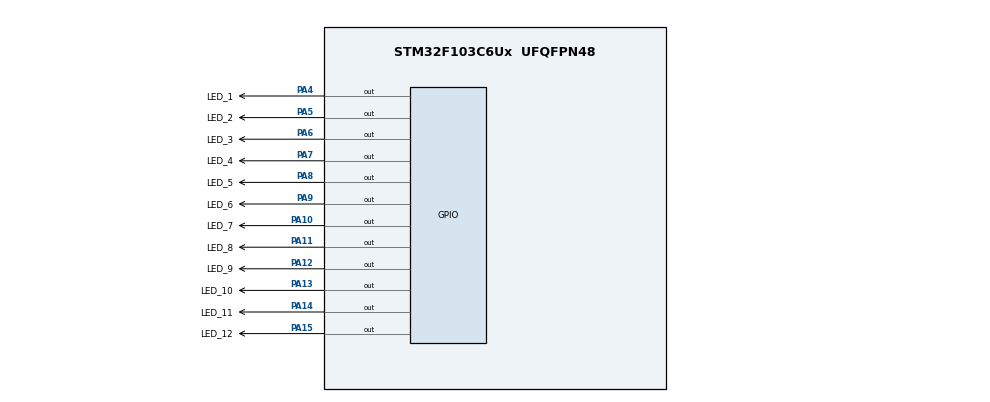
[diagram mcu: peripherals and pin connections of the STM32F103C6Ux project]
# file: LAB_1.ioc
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Mcu.Family=STM32F1
Mcu.Name=STM32F103C6Ux
Mcu.Package=UFQFPN48
NVIC.PriorityGroup=NVIC_PRIORITYGROUP_4
PA10.GPIO_Label=LED_7
PA10.Signal=GPIO_Output
PA11.GPIO_Label=LED_8
PA11.Signal=GPIO_Output
PA12.GPIO_Label=LED_9
PA12.Signal=GPIO_Output
PA13.GPIO_Label=LED_10
PA13.Signal=GPIO_Output
PA14.GPIO_Label=LED_11
PA14.Signal=GPIO_Output
PA15.GPIO_Label=LED_12
PA15.Signal=GPIO_Output
PA4.GPIO_Label=LED_1
PA4.Signal=GPIO_Output
PA5.GPIO_Label=LED_2
PA5.Signal=GPIO_Output
PA6.GPIO_Label=LED_3
PA6.Signal=GPIO_Output
PA7.GPIO_Label=LED_4
PA7.Signal=GPIO_Output
PA8.GPIO_Label=LED_5
PA8.Signal=GPIO_Output
PA9.GPIO_Label=LED_6
PA9.Signal=GPIO_Output
ProjectManager.HeapSize=0x200
ProjectManager.StackSize=0x400
ProjectManager.TargetToolchain=STM32CubeIDE
RCC.APB1Freq_Value=8000000
RCC.APB2Freq_Value=8000000
VP_SYS_VS_ND.Mode=No_Debug
board=custom

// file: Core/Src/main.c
/* USER CODE BEGIN Header */
/**
  ******************************************************************************
  * @file           : main.c
  * @brief          : Main program body
  ******************************************************************************
  * @attention
  *
  * <h2><center>&copy; Copyright (c) 2022 STMicroelectronics.
  * All rights reserved.</center></h2>
  *
  * This software component is licensed by ST under BSD 3-Clause license,
  * the "License"; You may not use this file except in compliance with the
  * License. You may obtain a copy of the License at:
  *                        opensource.org/licenses/BSD-3-Clause
  *
  ******************************************************************************
  */
/* USER CODE END Header */
#include "main.h"

void SystemClock_Config(void);
static void MX_GPIO_Init(void);

/* USER CODE BEGIN 0 */
void clearALLClock(){
		HAL_GPIO_WritePin(LED_1_GPIO_Port, LED_1_Pin, SET);
		HAL_GPIO_WritePin(LED_2_GPIO_Port, LED_2_Pin, SET);
		HAL_GPIO_WritePin(LED_3_GPIO_Port, LED_3_Pin, SET);
		HAL_GPIO_WritePin(LED_4_GPIO_Port, LED_4_Pin, SET);
		HAL_GPIO_WritePin(LED_5_GPIO_Port, LED_5_Pin, SET);
		HAL_GPIO_WritePin(LED_6_GPIO_Port, LED_6_Pin, SET);
		HAL_GPIO_WritePin(LED_7_GPIO_Port, LED_7_Pin, SET);
		HAL_GPIO_WritePin(LED_8_GPIO_Port, LED_8_Pin, SET);
		HAL_GPIO_WritePin(LED_9_GPIO_Port, LED_9_Pin, SET);
		HAL_GPIO_WritePin(LED_10_GPIO_Port, LED_10_Pin, SET);
		HAL_GPIO_WritePin(LED_11_GPIO_Port, LED_11_Pin, SET);
		HAL_GPIO_WritePin(LED_12_GPIO_Port, LED_12_Pin, SET);
}
void setNumberOnClock(int num){
	if (num >= 0 && num <= 12)
		HAL_GPIO_WritePin(GPIOA, (1 << (num + 4)), GPIO_PIN_RESET);
	else return;
}

void clearNumberOnClock(int num){
	if (num >= 0 && num <= 12)
		HAL_GPIO_WritePin(GPIOA, (1 << (num + 4)), GPIO_PIN_SET);
	else return;
}
void displayCLock(int hour, int min, int sec){
	int HourP = hour % 12;
	int MinP = min / 5;
	int SecP = sec / 5;

//	Clear
	clearNumberOnClock(0);
	clearNumberOnClock(1);
	clearNumberOnClock(2);
	clearNumberOnClock(3);
	clearNumberOnClock(4);
	clearNumberOnClock(5);
	clearNumberOnClock(6);
	clearNumberOnClock(7);
	clearNumberOnClock(8);
	clearNumberOnClock(9);
	clearNumberOnClock(10);
	clearNumberOnClock(11);

//	Set
	setNumberOnClock(HourP);
	setNumberOnClock(MinP);
	setNumberOnClock(SecP);
}
/* USER CODE END 0 */

int main(void)
{

  /* MCU Configuration--------------------------------------------------------*/

  /* Reset of all peripherals, Initializes the Flash interface and the Systick. */
  HAL_Init();

  /* Configure the system clock */
  SystemClock_Config();

  /* Initialize all configured peripherals */
  MX_GPIO_Init();

  /* Infinite loop */
  /* USER CODE BEGIN WHILE */
  int hour = 0;
  int min = 30;
  int sec = 0;
  while (1)
  {
	  displayCLock(hour, min, sec);
	  	  HAL_Delay(100);
	  	  sec++;
	  	  if (sec >= 60){
	  		  sec = 0;
	  		  min++;
	  	  }
	  	  if (min >= 60){
	  		  min = 0;
	  		  hour++;
	  	  }
	  	  if (hour >= 12){
	  		  hour = 0;
	  	  }
    /* USER CODE END WHILE */

  }
}

void SystemClock_Config(void)
{
  RCC_OscInitTypeDef RCC_OscInitStruct = {0};
  RCC_ClkInitTypeDef RCC_ClkInitStruct = {0};

  /** Initializes the RCC Oscillators according to the specified parameters
  * in the RCC_OscInitTypeDef structure.
  */
  RCC_OscInitStruct.OscillatorType = RCC_OSCILLATORTYPE_HSI;
  RCC_OscInitStruct.HSIState = RCC_HSI_ON;
  RCC_OscInitStruct.HSICalibrationValue = RCC_HSICALIBRATION_DEFAULT;
  RCC_OscInitStruct.PLL.PLLState = RCC_PLL_NONE;
  if (HAL_RCC_OscConfig(&RCC_OscInitStruct) != HAL_OK)
  {
    Error_Handler();
  }
  /** Initializes the CPU, AHB and APB buses clocks
  */
  RCC_ClkInitStruct.ClockType = RCC_CLOCKTYPE_HCLK|RCC_CLOCKTYPE_SYSCLK
                              |RCC_CLOCKTYPE_PCLK1|RCC_CLOCKTYPE_PCLK2;
  RCC_ClkInitStruct.SYSCLKSource = RCC_SYSCLKSOURCE_HSI;
  RCC_ClkInitStruct.AHBCLKDivider = RCC_SYSCLK_DIV1;
  RCC_ClkInitStruct.APB1CLKDivider = RCC_HCLK_DIV1;
  RCC_ClkInitStruct.APB2CLKDivider = RCC_HCLK_DIV1;

  if (HAL_RCC_ClockConfig(&RCC_ClkInitStruct, FLASH_LATENCY_0) != HAL_OK)
  {
    Error_Handler();
  }
}

static void MX_GPIO_Init(void)
{
  GPIO_InitTypeDef GPIO_InitStruct = {0};

  /* GPIO Ports Clock Enable */
  __HAL_RCC_GPIOA_CLK_ENABLE();

  /*Configure GPIO pin Output Level */
  HAL_GPIO_WritePin(GPIOA, LED_1_Pin|LED_2_Pin|LED_3_Pin|LED_4_Pin
                          |LED_5_Pin|LED_6_Pin|LED_7_Pin|LED_8_Pin
                          |LED_9_Pin|LED_10_Pin|LED_11_Pin|LED_12_Pin, GPIO_PIN_RESET);

  /*Configure GPIO pins : LED_1_Pin LED_2_Pin LED_3_Pin LED_4_Pin
                           LED_5_Pin LED_6_Pin LED_7_Pin LED_8_Pin
                           LED_9_Pin LED_10_Pin LED_11_Pin LED_12_Pin */
  GPIO_InitStruct.Pin = LED_1_Pin|LED_2_Pin|LED_3_Pin|LED_4_Pin
                          |LED_5_Pin|LED_6_Pin|LED_7_Pin|LED_8_Pin
                          |LED_9_Pin|LED_10_Pin|LED_11_Pin|LED_12_Pin;
  GPIO_InitStruct.Mode = GPIO_MODE_OUTPUT_PP;
  GPIO_InitStruct.Pull = GPIO_NOPULL;
  GPIO_InitStruct.Speed = GPIO_SPEED_FREQ_LOW;
  HAL_GPIO_Init(GPIOA, &GPIO_InitStruct);

}

void Error_Handler(void)
{
  __disable_irq();
  while (1)
  {
  }
}

/************************ (C) COPYRIGHT STMicroelectronics *****END OF FILE****/
